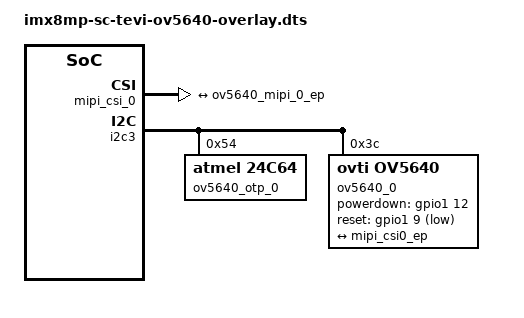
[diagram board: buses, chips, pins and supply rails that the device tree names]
// SPDX-License-Identifier: (GPL-2.0+ OR MIT)
/*
 * Copyright 2020 TechNexion Ltd.
 *
 * Author: Richard Hu <richard.hu@technexion.com>
 *         Ray Chang <ray.chang@technexion.com>
 *
 */

/dts-v1/;
/plugin/;

#include <dt-bindings/interrupt-controller/irq.h>
#include <dt-bindings/clock/imx8mp-clock.h>
#include <dt-bindings/gpio/gpio.h>

/ {
	fragment@0 {
		target = <&mipi_csi_0>;
		__overlay__ {
			#address-cells = <1>;
			#size-cells = <0>;
			status = "okay";

			port@0 {
				reg = <0>;
				mipi_csi0_ep: endpoint {
					remote-endpoint = <&ov5640_mipi_0_ep>;
					data-lanes = <2>;
					csis-hs-settle = <13>;
					csis-clk-settle = <2>;
					csis-wclk;
				};
			};
		};
	};

	fragment@1 {
		target = <&i2c3>;
		__overlay__ {
			#address-cells = <1>;
			#size-cells = <0>;

			ov5640_otp_0: eeprom@54 {
				compatible = "atmel,24c64";
				pagesize = <128>;
				reg = <0x54>;
				//read-only;
			};

			ov5640_0: ov5640_mipi@3c {
				compatible = "ovti,ov5640";
				reg = <0x3c>;
				pinctrl-names = "default";
				pinctrl-0 = <&pinctrl_csi0_pwn>, <&pinctrl_csi0_rst>;
				clocks = <&clk IMX8MP_CLK_IPP_DO_CLKO1>;
				clock-names = "xclk";
				assigned-clocks = <&clk IMX8MP_CLK_IPP_DO_CLKO1>;
				assigned-clock-parents = <&clk IMX8MP_CLK_24M>;
				assigned-clock-rates = <24000000>;
				csi_id = <0>;
				powerdown-gpios = <&gpio1 12 GPIO_ACTIVE_HIGH>;
				reset-gpios = <&gpio1 9 GPIO_ACTIVE_LOW>;
				mclk = <24000000>;
				mclk_source = <0>;
				mipi_csi;
				nvmem = <&ov5640_otp_0>;
				nvmem-names = "calib-data";
				status = "okay";

				port {
					ov5640_mipi_0_ep: endpoint {
						remote-endpoint = <&mipi_csi0_ep>;
						data-lanes = <1 2>;
						clock-lanes = <0>;
					};
				};
			};
		};
	};
};
